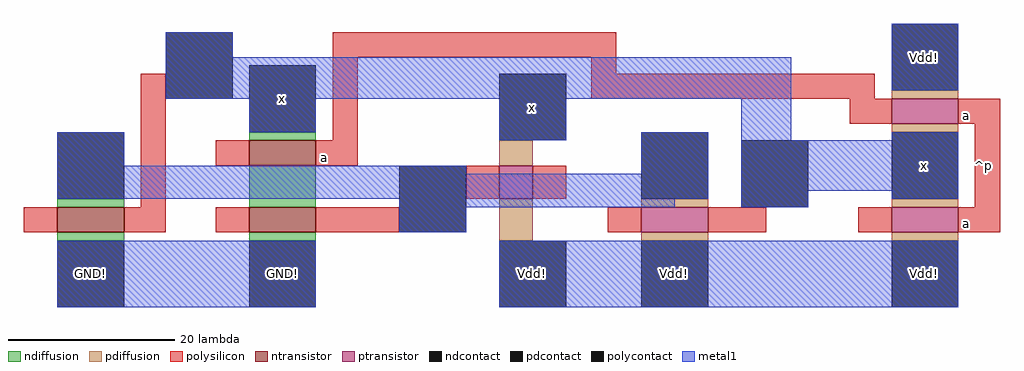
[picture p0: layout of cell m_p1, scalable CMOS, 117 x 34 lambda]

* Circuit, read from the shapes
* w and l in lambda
.subckt m_p1 GND! Vdd! a x
M1 n1 x GND! VSUBS nfet w=8 l=3
M2 n2 n1 GND! VSUBS nfet w=8 l=3
M3 x a n2 VSUBS nfet w=8 l=3
M4 x n1 Vdd! NWELL pfet w=4 l=4
M5 n1 x Vdd! NWELL pfet w=8 l=3
M6 x a Vdd! NWELL pfet w=8 l=3 m=2
.ends

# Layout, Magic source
magic
tech scmos
<< ndiffusion >>
rect -118 49 -110 50
rect -95 57 -87 58
rect -95 49 -87 54
rect -118 45 -110 46
rect -95 45 -87 46
<< pdiffusion >>
rect -18 62 -10 63
rect -18 58 -10 59
rect -65 54 -61 57
rect -65 45 -61 50
rect -48 49 -40 50
rect -18 49 -10 50
rect -48 45 -40 46
rect -18 45 -10 46
<< ntransistor >>
rect -95 54 -87 57
rect -118 46 -110 49
rect -95 46 -87 49
<< ptransistor >>
rect -18 59 -10 62
rect -65 50 -61 54
rect -48 46 -40 49
rect -18 46 -10 49
<< polysilicon >>
rect -108 49 -105 65
rect -85 67 -51 70
rect -85 57 -82 67
rect -54 65 -51 67
rect -99 54 -95 57
rect -87 54 -82 57
rect -54 62 -20 65
rect -23 59 -18 62
rect -10 59 -5 62
rect -122 46 -118 49
rect -110 46 -105 49
rect -99 46 -95 49
rect -87 46 -77 49
rect -69 50 -65 54
rect -61 50 -57 54
rect -8 49 -5 59
rect -52 46 -48 49
rect -40 46 -33 49
rect -22 46 -18 49
rect -10 46 -5 49
<< ndcontact >>
rect -118 50 -110 58
rect -95 58 -87 66
rect -118 37 -110 45
rect -95 37 -87 45
<< pdcontact >>
rect -65 57 -57 65
rect -18 63 -10 71
rect -48 50 -40 58
rect -18 50 -10 58
rect -65 37 -57 45
rect -48 37 -40 45
rect -18 37 -10 45
<< polycontact >>
rect -105 62 -97 70
rect -77 46 -69 54
rect -36 49 -28 57
<< metal1 >>
rect -105 67 -97 70
rect -105 62 -30 67
rect -18 63 -10 71
rect -95 58 -87 62
rect -118 54 -110 58
rect -65 57 -57 62
rect -118 53 -69 54
rect -48 53 -40 58
rect -118 50 -40 53
rect -36 57 -30 62
rect -18 57 -10 58
rect -36 51 -10 57
rect -77 49 -44 50
rect -36 49 -28 51
rect -18 50 -10 51
rect -77 46 -69 49
rect -118 37 -87 45
rect -65 37 -10 45
<< labels >>
rlabel pdcontact -44 41 -44 41 1 Vdd!
rlabel polysilicon -86 55 -86 55 1 a
rlabel metal1 -91 41 -91 41 1 GND!
rlabel metal1 -61 41 -61 41 1 Vdd!
rlabel ndcontact -114 41 -114 41 1 GND!
rlabel polysilicon -9 60 -9 60 1 a
rlabel polysilicon -9 47 -9 47 1 a
rlabel metal1 -14 67 -14 67 5 Vdd!
rlabel metal1 -14 41 -14 41 1 Vdd!
rlabel space -10 37 -4 71 3 ^p
rlabel metal1 -14 54 -14 54 1 x
rlabel metal1 -61 61 -61 61 1 x
rlabel metal1 -91 62 -91 62 1 x
<< end >>
